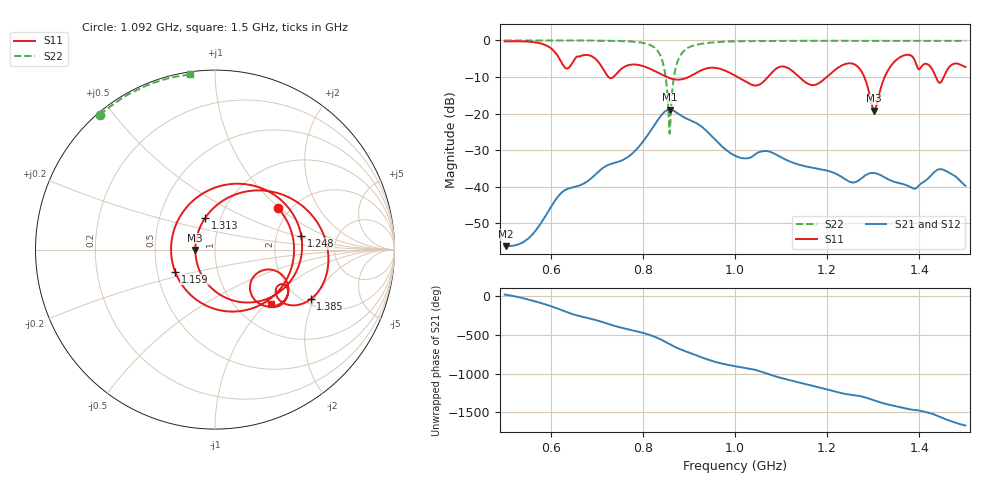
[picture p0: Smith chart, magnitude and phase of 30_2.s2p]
! TOUCHSTONE file generated by CST MICROWAVE STUDIO
! Date and time: Mon Nov 30 09:10:35 2020
! Project name: Scenario_1_Planar_Body_Tissue_Out_of_Line_v2.cst
! Parameters = {dy1=155.7; L_HA=400; Ltissue=700; MT=2.54; Rad_Dielectric=30; Rad_Lower=7.3; Rad_Upper=30; Wtissue=700; a_HA=580; a_WG=246; b_HA=500; b_WG=121; c_HA=0; c_WG=187; d_feed=85; dx1=346; h_feed=15; h_lower=18; h_upper=40; hfat=3; hgap=25; hmuscle=50; hskin=1.5}
! Header version: 2018
! Port assignment regex: !\s*Touchstone port\s*([0-9]+)\s*=\s*(CST MWS port|CST DS port)\s*([0-9]+|Zmin|Zmax)\s*\(\"(.*)\"\)(\s*mode\s*([0-9]+))?.*
! Touchstone port assignment:
! Touchstone port 1 = CST MWS port 1 ("")
! Touchstone port 2 = CST MWS port 2 ("")
# GHz S DB R 50
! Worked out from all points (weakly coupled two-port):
!   1003 points, 500 MHz to 1.5 GHz, reference 50 ohm
!   highest |S21| = -18.95 dB at 858 MHz (marker M1); lowest = -56.3 dB at 503 MHz (marker M2)
!   lowest |S11| = -19.2 dB at 1.302 GHz (marker M3), VSWR 1.25, Z = 40.1 - j0.197 ohm
!   |S11| at or under -10 dB: 851.9 MHz to 899.5 MHz (47.64 MHz wide, 5.44 % of centre); 1.005 GHz to 1.071 GHz (65.97 MHz wide, 6.35 % of centre); 1.139 GHz to 1.199 GHz (59.68 MHz wide, 5.1 % of centre) (the widest 3 of 6)
!   |S22| runs from -25.5 to 0.0 dB; largest |S21 - S12| = 2.5e-06
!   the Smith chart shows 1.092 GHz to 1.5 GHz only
!   S11 on the Smith chart (normalised r, x): 1.092 GHz: 1.75, +0.97; 1.159 GHz: 0.62, -0.16; 1.248 GHz: 2.77, +0.55; 1.313 GHz: 0.85, +0.31; 1.385 GHz: 2.17, -1.88; 1.5 GHz: 1.43, -1.07
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0.5  -0.27 -121.8  -56.28 24.6  -56.28 24.6  -0.01 151.2
0.503  -0.26 -123.1  -56.28 21.8  -56.28 21.8  -0.01 151.0
0.667  -4.19 160.0  -39.44 100.1  -39.44 100.1  -0.04 138.4
0.718  -8.73 25.5  -34.50 17.1  -34.50 17.1  -0.09 132.6
0.742  -9.25 -98.2  -33.38 -26.7  -33.38 -26.7  -0.14 129.0
0.77  -6.72 176.9  -31.66 -67.1  -31.66 -67.1  -0.27 123.2
0.834  -8.91 40.5  -21.48 177.8  -21.48 177.8  -3.19 84.2
0.858  -10.30 -20.3  -18.95 103.4  -18.95 103.4  -25.51 -41.8
0.881  -10.70 -87.5  -20.39 37.8  -20.39 37.8  -4.22 -173.4
0.942  -7.55 82.3  -25.23 -98.4  -25.23 -98.4  -0.67 151.2
1  -9.61 -57.8  -31.53 177.7  -31.53 177.7  -0.25 140.4
1.051  -12.18 167.0  -30.63 118.3  -30.62 118.3  -0.18 134.3
1.092  -7.52 33.0  -31.42 39.2  -31.42 39.2  -0.13 130.5
1.124  -8.30 -59.5  -33.36 -10.2  -33.36 -10.2  -0.10 127.7
1.159  -11.90 -151.1  -34.60 -60.6  -34.60 -60.6  -0.10 124.9
1.167  -12.21 -173.8  -34.80 -72.3  -34.80 -72.3  -0.10 124.2
1.248  -6.26 9.0  -38.61 170.9  -38.61 170.9  -0.08 118.0
1.302  -19.19 -178.7  -36.26 96.3  -36.26 96.3  -0.09 114.0
1.313  -14.60 106.6  -36.68 74.9  -36.68 74.9  -0.09 113.2
1.334  -7.77 53.8  -38.07 40.7  -38.07 40.7  -0.08 111.6
1.385  -4.43 -27.4  -40.40 -25.5  -40.40 -25.5  -0.09 107.6
1.5  -7.26 -44.4  -39.75 132.0  -39.75 132.0  -0.13 98.0
